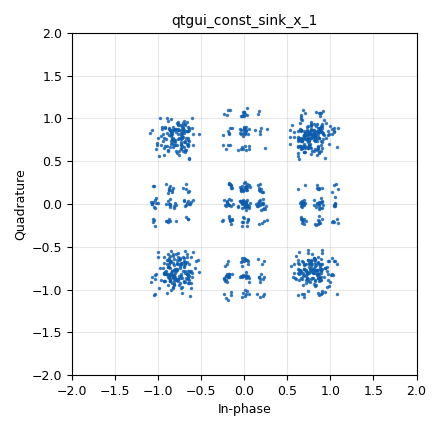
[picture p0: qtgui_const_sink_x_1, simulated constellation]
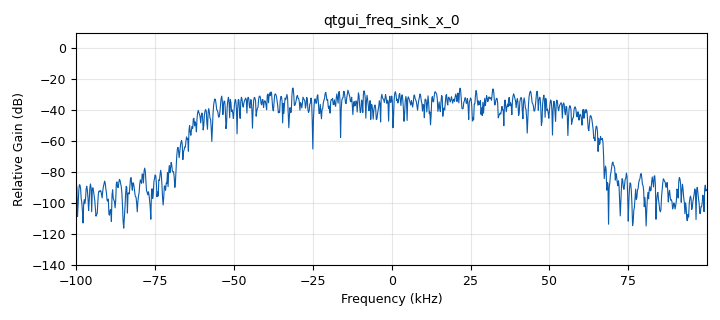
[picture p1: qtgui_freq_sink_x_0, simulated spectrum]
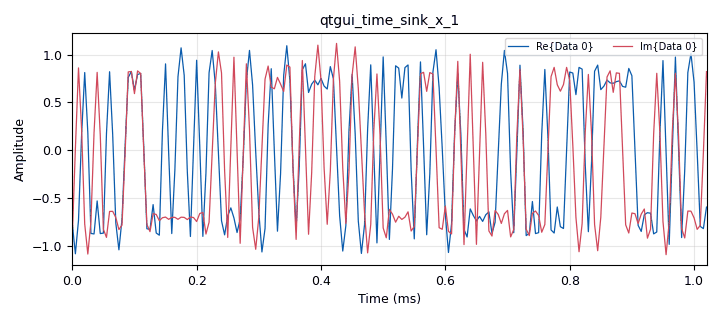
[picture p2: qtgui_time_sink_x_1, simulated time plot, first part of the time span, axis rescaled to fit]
<?xml version='1.0' encoding='utf-8'?>
<?grc format='1' created='3.7.13'?>
<flow_graph>
<block>
<key>options</key>
<param><key>id</key><value>top_block</value></param>
<param><key>generate_options</key><value>qt_gui</value></param>
</block>
<block>
<key>variable</key>
<param><key>id</key><value>samp_rate</value></param>
<param><key>value</key><value>200000</value></param>
</block>
<block>
<key>variable_constellation_rect</key>
<param><key>id</key><value>variable_constellation_rect_0</value></param>
<param><key>const_points</key><value>[-1-1j, -1+1j, 1+1j, 1-1j]</value></param>
<param><key>imag_sect</key><value>2</value></param>
<param><key>real_sect</key><value>2</value></param>
<param><key>rot_sym</key><value>4</value></param>
<param><key>sym_map</key><value>[0, 1, 2, 3]</value></param>
<param><key>w_imag_sect</key><value>1</value></param>
<param><key>w_real_sect</key><value>1</value></param>
</block>
<block>
<key>variable_qtgui_chooser</key>
<param><key>id</key><value>variable_qtgui_chooser_0</value></param>
<param><key>value</key><value>2</value></param>
<param><key>label0</key><value>0</value></param>
<param><key>label1</key><value>1</value></param>
<param><key>label2</key><value>2</value></param>
<param><key>label</key><value>Souece</value></param>
<param><key>num_opts</key><value>3</value></param>
<param><key>option0</key><value>0</value></param>
<param><key>option1</key><value>1</value></param>
<param><key>option2</key><value>2</value></param>
<param><key>type</key><value>int</value></param>
</block>
<block>
<key>analog_random_source_x</key>
<param><key>id</key><value>analog_random_source_x_0</value></param>
<param><key>max</key><value>256</value></param>
<param><key>min</key><value>0</value></param>
<param><key>num_samps</key><value>1000</value></param>
<param><key>type</key><value>byte</value></param>
<param><key>repeat</key><value>True</value></param>
</block>
<block>
<key>blks2_selector</key>
<param><key>id</key><value>blks2_selector_0</value></param>
<param><key>input_index</key><value>variable_qtgui_chooser_0</value></param>
<param><key>num_inputs</key><value>3</value></param>
<param><key>num_outputs</key><value>1</value></param>
<param><key>output_index</key><value>0</value></param>
<param><key>type</key><value>byte</value></param>
<param><key>vlen</key><value>1</value></param>
</block>
<block>
<key>blocks_throttle</key>
<param><key>id</key><value>blocks_throttle_0</value></param>
<param><key>samples_per_second</key><value>samp_rate</value></param>
<param><key>type</key><value>complex</value></param>
</block>
<block>
<key>blocks_vector_source_x</key>
<param><key>id</key><value>blocks_vector_source_x_0</value></param>
<param><key>type</key><value>byte</value></param>
<param><key>repeat</key><value>True</value></param>
<param><key>vector</key><value>(0, 0, 0)</value></param>
</block>
<block>
<key>blocks_vector_source_x</key>
<param><key>id</key><value>blocks_vector_source_x_1</value></param>
<param><key>type</key><value>byte</value></param>
<param><key>repeat</key><value>True</value></param>
<param><key>vector</key><value>(1, 0, 1,0,1,0,1)</value></param>
</block>
<block>
<key>digital_constellation_modulator</key>
<param><key>id</key><value>digital_constellation_modulator_0</value></param>
<param><key>constellation</key><value>variable_constellation_rect_0</value></param>
<param><key>differential</key><value>True</value></param>
<param><key>excess_bw</key><value>0.35</value></param>
<param><key>samples_per_symbol</key><value>2</value></param>
</block>
<block>
<key>qtgui_const_sink_x</key>
<param><key>id</key><value>qtgui_const_sink_x_1</value></param>
<param><key>size</key><value>1024</value></param>
<param><key>type</key><value>complex</value></param>
</block>
<block>
<key>qtgui_freq_sink_x</key>
<param><key>id</key><value>qtgui_freq_sink_x_0</value></param>
<param><key>bw</key><value>samp_rate</value></param>
<param><key>fc</key><value>0</value></param>
<param><key>fftsize</key><value>1024</value></param>
<param><key>showports</key><value>True</value></param>
<param><key>type</key><value>complex</value></param>
<param><key>wintype</key><value>firdes.WIN_BLACKMAN_hARRIS</value></param>
</block>
<block>
<key>qtgui_time_sink_x</key>
<param><key>id</key><value>qtgui_time_sink_x_1</value></param>
<param><key>color1</key><value>"blue"</value></param>
<param><key>label1</key><value></value></param>
<param><key>color2</key><value>"red"</value></param>
<param><key>label2</key><value></value></param>
<param><key>size</key><value>1024</value></param>
<param><key>srate</key><value>samp_rate</value></param>
<param><key>type</key><value>complex</value></param>
</block>
<connection><source_block_id>analog_random_source_x_0</source_block_id><sink_block_id>blks2_selector_0</sink_block_id><source_key>0</source_key><sink_key>2</sink_key></connection>
<connection><source_block_id>blks2_selector_0</source_block_id><sink_block_id>digital_constellation_modulator_0</sink_block_id><source_key>0</source_key><sink_key>0</sink_key></connection>
<connection><source_block_id>blocks_throttle_0</source_block_id><sink_block_id>qtgui_const_sink_x_1</sink_block_id><source_key>0</source_key><sink_key>0</sink_key></connection>
<connection><source_block_id>blocks_throttle_0</source_block_id><sink_block_id>qtgui_freq_sink_x_0</sink_block_id><source_key>0</source_key><sink_key>0</sink_key></connection>
<connection><source_block_id>blocks_throttle_0</source_block_id><sink_block_id>qtgui_time_sink_x_1</sink_block_id><source_key>0</source_key><sink_key>0</sink_key></connection>
<connection><source_block_id>blocks_vector_source_x_0</source_block_id><sink_block_id>blks2_selector_0</sink_block_id><source_key>0</source_key><sink_key>1</sink_key></connection>
<connection><source_block_id>blocks_vector_source_x_1</source_block_id><sink_block_id>blks2_selector_0</sink_block_id><source_key>0</source_key><sink_key>0</sink_key></connection>
<connection><source_block_id>digital_constellation_modulator_0</source_block_id><sink_block_id>blocks_throttle_0</sink_block_id><source_key>0</source_key><sink_key>0</sink_key></connection>
</flow_graph>
